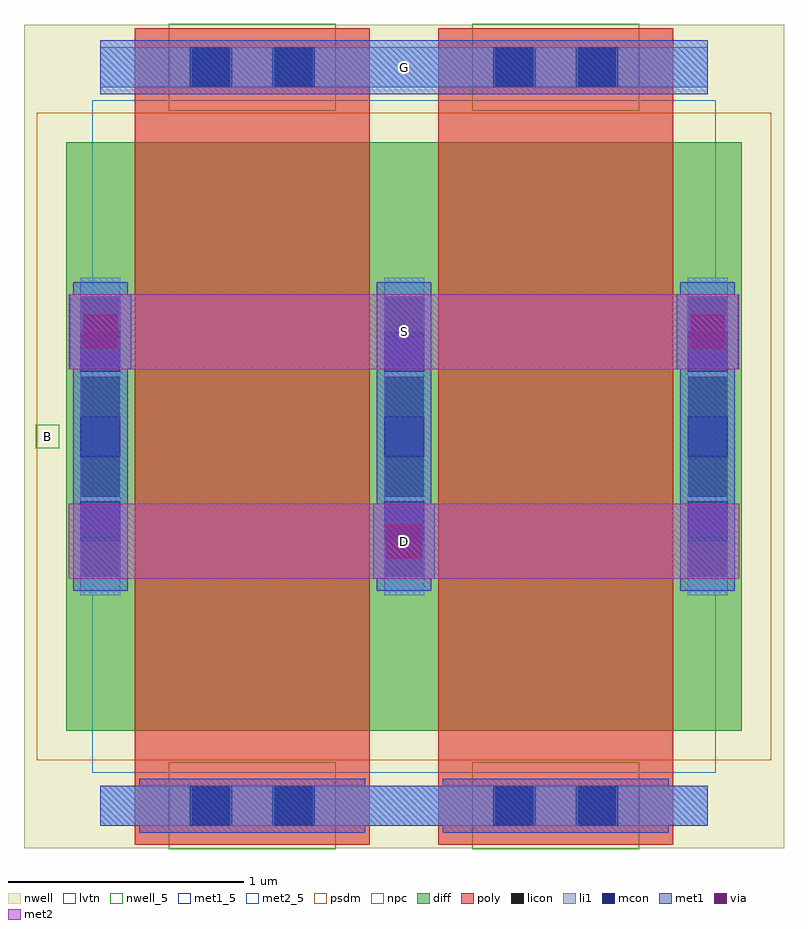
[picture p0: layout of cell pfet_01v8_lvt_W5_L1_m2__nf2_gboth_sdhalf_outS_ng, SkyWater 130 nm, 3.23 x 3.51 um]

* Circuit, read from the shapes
.subckt pfet_01v8_lvt_W5_L1_m2__nf2_gboth_sdhalf_outS_ng B D G S
XM1 D G S B sky130_fd_pr__pfet_01v8_lvt w=2.5 l=1 m=2
.ends

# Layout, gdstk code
import gdstk
lib = gdstk.Library(unit=1e-6, precision=1e-09)
def R(c, l, rs):  # rectangles x0, y0, x1, y1
    for r in rs: c.add(gdstk.rectangle(r[:2], r[2:], *l))
def A(c, l, x, y, w, h, nx, ny, dx, dy):  # array of equal rectangles
    R(c, l, [(x+i*dx, y+j*dy, x+i*dx+w, y+j*dy+h) for i in range(nx) for j in range(ny)])
nwell_5 = (64, 5)
nwell = (64, 20)
diff = (65, 20)
poly = (66, 20)
licon = (66, 44)
li1 = (67, 20)
mcon = (67, 44)
met1_5 = (68, 5)
met1 = (68, 20)
via = (68, 44)
met2_5 = (69, 5)
met2 = (69, 20)
psdm = (94, 20)
npc = (95, 20)
lvtn = (125, 44)

sky130_fd_pr__pfet_01v8_ = lib.new_cell('sky130_fd_pr__pfet_01v8_lvt_VQBHAE')
R(sky130_fd_pr__pfet_01v8_, nwell, [(-1.615,-1.75,1.615,1.75)])
R(sky130_fd_pr__pfet_01v8_, diff, [(-1.435,-1.25,1.435,1.25)])
R(sky130_fd_pr__pfet_01v8_, poly, [(-1.145,-1.735,-0.145,1.735), (0.145,-1.735,1.145,1.735)])
A(sky130_fd_pr__pfet_01v8_, licon, -1.375, -0.595, 0.17, 0.17, 3, 4, 1.29, 0.34)
R(sky130_fd_pr__pfet_01v8_, licon, [(-0.9,-1.655,-0.73,-1.485), (-0.56,-1.655,-0.39,-1.485), (0.39,-1.655,0.56,-1.485), (0.73,-1.655,0.9,-1.485), (-0.9,1.485,-0.73,1.655), (-0.56,1.485,-0.39,1.655), (0.39,1.485,0.56,1.655), (0.73,1.485,0.9,1.655)])
A(sky130_fd_pr__pfet_01v8_, li1, -1.375, -0.675, 0.17, 1.35, 3, 1, 1.29, 0)
R(sky130_fd_pr__pfet_01v8_, li1, [(-1.29,-1.655,1.29,-1.485), (-1.29,1.485,1.29,1.655)])
A(sky130_fd_pr__pfet_01v8_, mcon, -1.375, -0.445, 0.17, 0.17, 3, 3, 1.29, 0.36)
R(sky130_fd_pr__pfet_01v8_, mcon, [(-0.91,-1.655,-0.74,-1.485), (-0.55,-1.655,-0.38,-1.485), (0.38,-1.655,0.55,-1.485), (0.74,-1.655,0.91,-1.485), (-0.91,1.485,-0.74,1.655), (-0.55,1.485,-0.38,1.655), (0.38,1.485,0.55,1.655), (0.74,1.485,0.91,1.655)])
A(sky130_fd_pr__pfet_01v8_, met1, -1.405, -0.655, 0.23, 1.31, 3, 1, 1.29, 0)
R(sky130_fd_pr__pfet_01v8_, met1, [(-1.125,-1.685,-0.165,-1.655), (0.165,-1.685,1.125,-1.655), (-1.29,-1.655,1.29,-1.485), (-1.125,-1.485,-0.165,-1.455), (0.165,-1.485,1.125,-1.455), (-1.125,1.455,-0.165,1.485), (0.165,1.455,1.125,1.485), (-1.29,1.485,1.29,1.655), (-1.125,1.655,-0.165,1.685), (0.165,1.655,1.125,1.685)])
R(sky130_fd_pr__pfet_01v8_, psdm, [(-1.56,-1.375,1.56,1.375)])
R(sky130_fd_pr__pfet_01v8_, npc, [(-1,-1.755,-0.29,-1.385), (0.29,-1.755,1,-1.385), (-1,1.385,-0.29,1.755), (0.29,1.385,1,1.755)])
R(sky130_fd_pr__pfet_01v8_, lvtn, [(-1.325,-1.43,1.325,1.43)])
sky130_fd_pr__pfet_01v8_.add(gdstk.Label('D0', (-1.29,0), layer=67, texttype=5))
sky130_fd_pr__pfet_01v8_.add(gdstk.Label('G', (0.645,1.57), layer=67, texttype=5))
sky130_fd_pr__pfet_01v8_.add(gdstk.Label('G', (-0.645,1.57), layer=67, texttype=5))
sky130_fd_pr__pfet_01v8_.add(gdstk.Label('S1', (0,0), layer=67, texttype=5))

pfet_01v8_lvt_w5_l1_m2__ = lib.new_cell('pfet_01v8_lvt_W5_L1_m2__nf2_gboth_sdhalf_outS_ng')
R(pfet_01v8_lvt_w5_l1_m2__, nwell_5, [(0.05,1.7,0.15,1.8)])
R(pfet_01v8_lvt_w5_l1_m2__, nwell, [(0.05,1.7,0.15,1.8)])
R(pfet_01v8_lvt_w5_l1_m2__, met1_5, [(0.325,3.205,2.905,3.435)])
R(pfet_01v8_lvt_w5_l1_m2__, met1, [(1.485,1.145,1.745,1.465), (0.195,2.035,0.455,2.355), (2.775,2.035,3.035,2.355), (0.325,3.205,2.905,3.435)])
R(pfet_01v8_lvt_w5_l1_m2__, via, [(1.54,1.23,1.69,1.38), (0.25,2.12,0.4,2.27), (2.83,2.12,2.98,2.27)])
R(pfet_01v8_lvt_w5_l1_m2__, met2_5, [(0.19,1.145,3.04,1.465), (0.19,2.035,3.04,2.355)])
R(pfet_01v8_lvt_w5_l1_m2__, met2, [(0.19,1.145,3.04,1.465), (0.19,2.035,3.04,2.355)])
pfet_01v8_lvt_w5_l1_m2__.add(gdstk.Reference(sky130_fd_pr__pfet_01v8_, (1.615,1.75)))
pfet_01v8_lvt_w5_l1_m2__.add(gdstk.Label('S', (1.615,2.195), layer=69, texttype=5))
pfet_01v8_lvt_w5_l1_m2__.add(gdstk.Label('D', (1.615,1.305), layer=69, texttype=5))
pfet_01v8_lvt_w5_l1_m2__.add(gdstk.Label('G', (1.615,3.32), layer=68, texttype=5))
pfet_01v8_lvt_w5_l1_m2__.add(gdstk.Label('B', (0.1,1.75), layer=64, texttype=5))

lib.write_gds('pfet_01v8_lvt_W5_L1_m2__nf2_gboth_sdhalf_outS_ng.gds')
